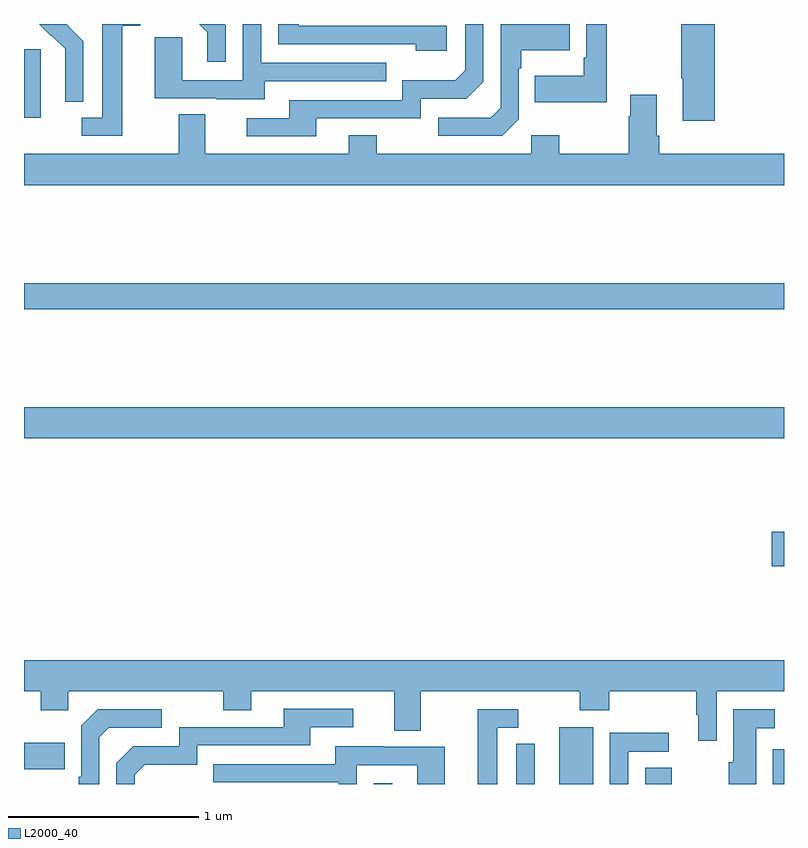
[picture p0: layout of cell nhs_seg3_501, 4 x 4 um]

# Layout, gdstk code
import gdstk
lib = gdstk.Library(unit=1e-6, precision=1e-09)
def R(c, l, rs):  # rectangles x0, y0, x1, y1
    for r in rs: c.add(gdstk.rectangle(r[:2], r[2:], *l))
def P(c, l, *ps):  # polygons
    for p in ps: c.add(gdstk.Polygon(p, *l))
L2000_40 = (2000, 40)

nhs_seg3_501 = lib.new_cell('nhs_seg3_501')
R(nhs_seg3_501, L2000_40, [(136.842,728.4,136.939,728.404), (137.816,728.4,137.995,728.698), (138.269,728.4,138.408,728.486), (138.941,728.4,139,728.583), (135,728.477,135.215,728.617), (138.936,729.545,139,729.728), (135,730.22,139,730.384), (135,730.9,139,731.036), (135,731.906,135.088,732.267)])
P(nhs_seg3_501, L2000_40, [(138.635,732.4),(138.46,732.4),(138.46,732.115),(138.467,732.115),(138.467,731.892),(138.635,731.892)],
  [(135.312,732.31),(135.239,732.383),(135.24,732.384),(135.224,732.4),(135.08,732.4),(135.144,732.336),(135.147,732.339),(135.218,732.269),(135.218,732.146),(135.216,732.146),(135.216,731.992),(135.312,731.992)],
  [(137.224,732.39),(136.447,732.39),(136.447,732.4),(136.338,732.4),(136.338,732.294),(137.063,732.294),(137.063,732.26),(137.224,732.26)],
  [(136.537,731.904),(137.088,731.904),(137.088,732.006),(137.328,732.006),(137.418,732.096),(137.418,732.4),(137.322,732.4),(137.322,732.156),(137.269,732.103),(136.992,732.103),(136.992,732),(136.397,732),(136.397,731.904),(136.173,731.904),(136.173,731.808),(136.537,731.808)],
  [(138.067,732.4),(137.958,732.4),(137.958,732.223),(137.946,732.223),(137.946,732.127),(137.689,732.127),(137.689,731.987),(138.067,731.987)],
  [(135.517,732.392),(135.613,732.392),(135.613,732.4),(135.413,732.4),(135.413,731.907),(135.303,731.907),(135.303,731.811),(135.517,731.811)],
  [(136.062,732.394),(136.056,732.4),(135.922,732.4),(135.965,732.357),(135.965,732.201),(136.062,732.201)],
  [(137.604,731.898),(137.604,732.167),(137.617,732.167),(137.617,732.263),(137.873,732.263),(137.873,732.4),(137.508,732.4),(137.508,731.958),(137.457,731.907),(137.181,731.907),(137.181,731.811),(137.517,731.811)],
  [(136.267,732.099),(136.907,732.099),(136.907,732.195),(136.248,732.195),(136.248,732.4),(136.152,732.4),(136.152,732.105),(135.834,732.105),(135.834,732.329),(135.689,732.329),(135.689,732.009),(136.013,732.009),(136.013,732.005),(136.267,732.005)],
  [(139,731.716),(138.344,731.716),(138.344,731.812),(138.331,731.812),(138.331,732.028),(138.191,732.028),(138.191,731.915),(138.184,731.915),(138.184,731.716),(137.817,731.716),(137.817,731.815),(137.67,731.815),(137.67,731.716),(136.857,731.716),(136.857,731.815),(136.709,731.815),(136.709,731.716),(135.955,731.716),(135.955,731.924),(135.815,731.924),(135.815,731.716),(135,731.716),(135,731.552),(139,731.552)],
  [(138.645,728.888),(139,728.888),(139,729.052),(135,729.052),(135,728.888),(135.088,728.888),(135.088,728.789),(135.234,728.789),(135.234,728.888),(136.048,728.888),(136.048,728.789),(136.195,728.789),(136.195,728.888),(136.949,728.888),(136.949,728.68),(137.089,728.68),(137.089,728.888),(137.926,728.888),(137.926,728.789),(138.081,728.789),(138.081,728.888),(138.537,728.888),(138.537,728.764),(138.548,728.764),(138.548,728.628),(138.645,728.628)],
  [(135.582,728.448),(135.635,728.501),(135.912,728.501),(135.912,728.604),(136.507,728.604),(136.507,728.7),(136.732,728.7),(136.732,728.796),(136.367,728.796),(136.367,728.7),(135.816,728.7),(135.816,728.598),(135.576,728.598),(135.486,728.508),(135.486,728.4),(135.582,728.4)],
  [(138.853,728.693),(138.952,728.693),(138.952,728.794),(138.734,728.794),(138.734,728.514),(138.709,728.514),(138.709,728.4),(138.853,728.4)],
  [(137.491,728.697),(137.602,728.697),(137.602,728.793),(137.387,728.793),(137.387,728.4),(137.491,728.4)],
  [(135.396,728.646),(135.447,728.697),(135.724,728.697),(135.724,728.793),(135.387,728.793),(135.3,728.706),(135.3,728.437),(135.288,728.437),(135.288,728.4),(135.396,728.4)],
  [(138.18,728.571),(138.394,728.571),(138.394,728.67),(138.084,728.67),(138.084,728.4),(138.18,728.4)],
  [(137.687,728.458),(137.688,728.458),(137.688,728.612),(137.592,728.612),(137.592,728.4),(137.687,728.4)],
  [(136.752,728.499),(137.07,728.499),(137.07,728.4),(137.215,728.4),(137.215,728.595),(136.891,728.595),(136.891,728.599),(136.637,728.599),(136.637,728.505),(135.997,728.505),(135.997,728.409),(136.656,728.409),(136.656,728.4),(136.752,728.4)])

lib.write_gds('nhs_seg3_501.gds')
